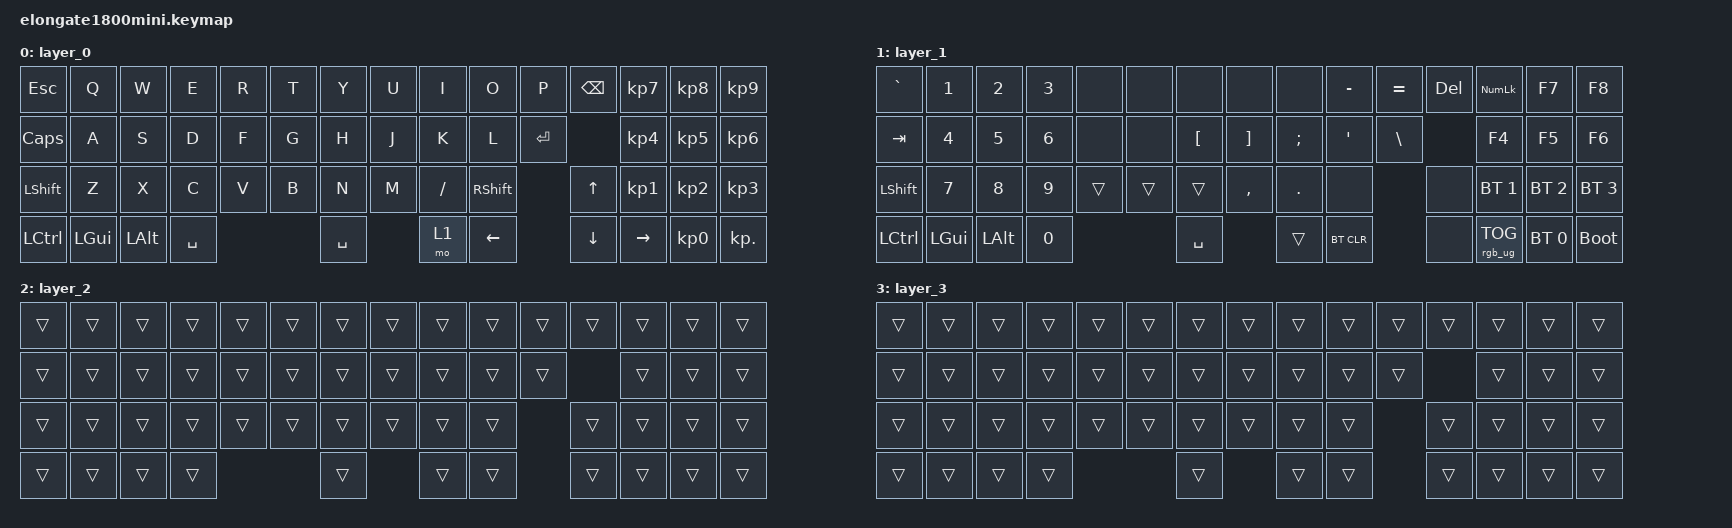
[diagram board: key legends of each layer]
/*
 * Copyright (c) 2020 The ZMK Contributors
 *
 * SPDX-License-Identifier: MIT
 */

#include <behaviors.dtsi>
#include <dt-bindings/zmk/bt.h>
#include <dt-bindings/zmk/keys.h>
#include <dt-bindings/zmk/rgb.h>

/ {
    keymap0: keymap {
        compatible = "zmk,keymap";

        layer_0 {
            bindings = <
&kp ESC    &kp Q     &kp W     &kp E      &kp R  &kp T  &kp Y      &kp U  &kp I     &kp O      &kp P      &kp BSPC      &kp KP_NUMBER_7  &kp KP_N8  &kp KP_NUMBER_9
&kp CAPS   &kp A     &kp S     &kp D      &kp F  &kp G  &kp H      &kp J  &kp K     &kp L      &kp ENTER                &kp KP_N4        &kp KP_N5  &kp KP_N6
&kp LSHFT  &kp Z     &kp X     &kp C      &kp V  &kp B  &kp N      &kp M  &kp FSLH  &kp RSHFT             &kp UP_ARROW  &kp KP_N1        &kp KP_N2  &kp KP_N3
&kp LCTRL  &kp LGUI  &kp LALT  &kp SPACE                &kp SPACE         &mo 1     &kp LEFT              &kp DOWN      &kp RIGHT        &kp KP_N0  &kp KP_DOT
            >;
        };

        layer_1 {
            bindings = <
&kp GRAVE  &kp N1    &kp N2    &kp N3  &none   &none   &none      &none      &none     &kp MINUS   &kp EQUAL  &kp DELETE  &kp KP_NUMLOCK   &kp F7        &kp F8
&kp TAB    &kp N4    &kp N5    &kp N6  &none   &none   &kp LBKT   &kp RBKT   &kp SEMI  &kp APOS    &kp BSLH               &kp F4           &kp F5        &kp F6
&kp LSHFT  &kp N7    &kp N8    &kp N9  &trans  &trans  &trans     &kp COMMA  &kp DOT   &none                  &none       &bt BT_SEL 1     &bt BT_SEL 2  &bt BT_SEL 3
&kp LCTRL  &kp LGUI  &kp LALT  &kp N0                  &kp SPACE             &trans    &bt BT_CLR             &none       &rgb_ug RGB_TOG  &bt BT_SEL 0  &bootloader
            >;
        };

        layer_2 {
            bindings = <
&trans  &trans  &trans  &trans  &trans  &trans  &trans  &trans  &trans  &trans  &trans  &trans  &trans  &trans  &trans
&trans  &trans  &trans  &trans  &trans  &trans  &trans  &trans  &trans  &trans  &trans          &trans  &trans  &trans
&trans  &trans  &trans  &trans  &trans  &trans  &trans  &trans  &trans  &trans          &trans  &trans  &trans  &trans
&trans  &trans  &trans  &trans                  &trans          &trans  &trans          &trans  &trans  &trans  &trans
            >;
        };

        layer_3 {
            bindings = <
&trans  &trans  &trans  &trans  &trans  &trans  &trans  &trans  &trans  &trans  &trans  &trans  &trans  &trans  &trans
&trans  &trans  &trans  &trans  &trans  &trans  &trans  &trans  &trans  &trans  &trans          &trans  &trans  &trans
&trans  &trans  &trans  &trans  &trans  &trans  &trans  &trans  &trans  &trans          &trans  &trans  &trans  &trans
&trans  &trans  &trans  &trans                  &trans          &trans  &trans          &trans  &trans  &trans  &trans
            >;
        };
    };
};
